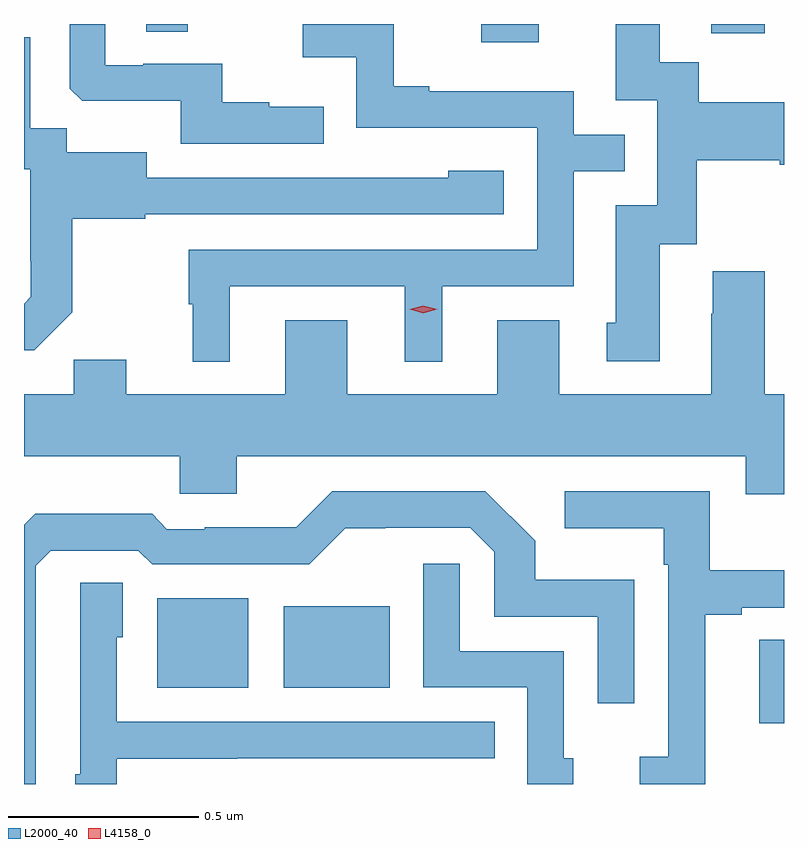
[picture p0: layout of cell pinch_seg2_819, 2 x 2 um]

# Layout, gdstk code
import gdstk
lib = gdstk.Library(unit=1e-6, precision=1e-09)
def R(c, l, rs):  # rectangles x0, y0, x1, y1
    for r in rs: c.add(gdstk.rectangle(r[:2], r[2:], *l))
def P(c, l, *ps):  # polygons
    for p in ps: c.add(gdstk.Polygon(p, *l))
L2000_40 = (2000, 40)
L4158_0 = (4158, 0)

pinch_seg2_819 = lib.new_cell('pinch_seg2_819')
R(pinch_seg2_819, L2000_40, [(635.321,601.646,635.386,601.865), (633.737,601.739,633.976,601.975), (634.07,601.739,634.348,601.954), (634.589,603.438,634.741,603.486), (635.195,603.462,635.335,603.486), (633.708,603.466,633.817,603.486)])
P(pinch_seg2_819, L2000_40, [(635.059,602.906),(635.157,602.906),(635.157,603.128),(635.375,603.128),(635.375,603.116),(635.386,603.116),(635.386,603.28),(635.161,603.28),(635.161,603.386),(635.059,603.386),(635.059,603.486),(634.943,603.486),(634.943,603.285),(635.052,603.285),(635.052,603.009),(634.943,603.009),(634.943,602.7),(634.919,602.7),(634.919,602.598),(635.059,602.598)],
  [(634.175,603.268),(634.031,603.268),(634.031,603.28),(633.908,603.28),(633.908,603.381),(633.7,603.381),(633.7,603.378),(633.6,603.378),(633.6,603.486),(633.507,603.486),(633.507,603.315),(633.539,603.284),(633.798,603.284),(633.798,603.171),(634.175,603.171)],
  [(633.928,602.796),(634.388,602.796),(634.388,602.597),(634.486,602.597),(634.486,602.796),(634.833,602.796),(634.833,603.099),(634.967,603.099),(634.967,603.195),(634.833,603.195),(634.833,603.309),(634.453,603.309),(634.453,603.322),(634.359,603.322),(634.359,603.486),(634.119,603.486),(634.119,603.398),(634.26,603.398),(634.26,603.213),(634.737,603.213),(634.737,602.892),(633.819,602.892),(633.819,602.748),(633.83,602.748),(633.83,602.597),(633.928,602.597)],
  [(633.513,602.727),(633.513,602.973),(633.705,602.973),(633.705,602.985),(634.648,602.985),(634.648,603.1),(634.503,603.1),(634.503,603.082),(634.267,603.082),(634.267,603.081),(633.709,603.081),(633.709,603.148),(633.498,603.148),(633.498,603.212),(633.403,603.212),(633.403,603.451),(633.386,603.451),(633.386,603.104),(633.402,603.104),(633.402,602.863),(633.404,602.863),(633.404,602.768),(633.386,602.75),(633.386,602.627),(633.413,602.627)],
  [(635.386,602.512),(635.335,602.512),(635.335,602.836),(635.198,602.836),(635.198,602.723),(635.195,602.723),(635.195,602.512),(634.795,602.512),(634.795,602.707),(634.631,602.707),(634.631,602.512),(634.237,602.512),(634.237,602.707),(634.073,602.707),(634.073,602.512),(633.655,602.512),(633.655,602.603),(633.517,602.603),(633.517,602.512),(633.386,602.512),(633.386,602.348),(633.796,602.348),(633.796,602.25),(633.946,602.25),(633.946,602.348),(635.285,602.348),(635.285,602.249),(635.386,602.249)],
  [(635.179,601.932),(635.275,601.932),(635.275,601.95),(635.386,601.95),(635.386,602.048),(635.191,602.048),(635.191,602.256),(634.809,602.256),(634.809,602.159),(635.07,602.159),(635.07,602.063),(635.082,602.063),(635.082,601.558),(635.007,601.558),(635.007,601.486),(635.179,601.486)],
  [(633.417,602.061),(633.456,602.1),(633.687,602.1),(633.723,602.064),(634.137,602.064),(634.232,602.159),(634.336,602.159),(634.336,602.16),(634.56,602.16),(634.623,602.097),(634.623,601.926),(634.896,601.926),(634.896,601.698),(634.992,601.698),(634.992,602.023),(634.731,602.023),(634.731,602.126),(634.6,602.256),(634.197,602.256),(634.103,602.162),(633.862,602.162),(633.862,602.157),(633.762,602.157),(633.723,602.197),(633.415,602.197),(633.386,602.168),(633.386,601.486),(633.417,601.486)],
  [(634.831,601.554),(634.806,601.554),(634.806,601.836),(634.533,601.836),(634.533,602.065),(634.437,602.065),(634.437,601.74),(634.71,601.74),(634.71,601.486),(634.831,601.486)],
  [(633.63,601.553),(633.947,601.553),(633.947,601.554),(634.625,601.554),(634.625,601.65),(633.63,601.65),(633.63,601.872),(633.646,601.872),(633.646,602.015),(633.534,602.015),(633.534,601.512),(633.521,601.512),(633.521,601.486),(633.63,601.486)])
P(pinch_seg2_819, L4158_0, [(634.437,602.725),(634.401,602.735),(634.401,602.735),(634.401,602.735),(634.437,602.745),(634.473,602.735),(634.473,602.735),(634.473,602.735)])

lib.write_gds('pinch_seg2_819.gds')
